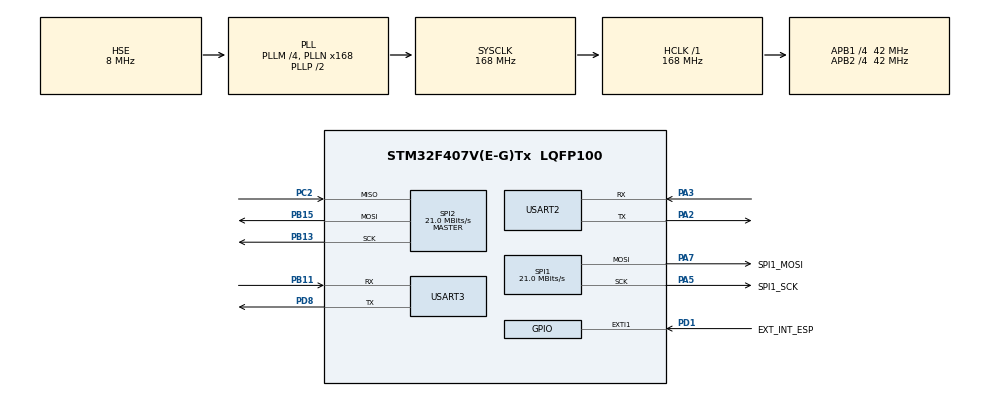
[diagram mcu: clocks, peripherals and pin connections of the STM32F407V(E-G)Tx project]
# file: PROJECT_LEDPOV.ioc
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Dma.Request0=SPI1_TX
Dma.SPI1_TX.0.Direction=DMA_MEMORY_TO_PERIPH
Dma.SPI1_TX.0.FIFOMode=DMA_FIFOMODE_DISABLE
Dma.SPI1_TX.0.Instance=DMA2_Stream3
Dma.SPI1_TX.0.MemDataAlignment=DMA_MDATAALIGN_BYTE
Dma.SPI1_TX.0.MemInc=DMA_MINC_ENABLE
Dma.SPI1_TX.0.Mode=DMA_NORMAL
Dma.SPI1_TX.0.PeriphDataAlignment=DMA_PDATAALIGN_BYTE
Dma.SPI1_TX.0.PeriphInc=DMA_PINC_DISABLE
Dma.SPI1_TX.0.Priority=DMA_PRIORITY_VERY_HIGH
Mcu.Family=STM32F4
Mcu.Name=STM32F407V(E-G)Tx
Mcu.Package=LQFP100
NVIC.DMA2_Stream3_IRQn=true\:0\:0\:false\:false\:true\:false
NVIC.PriorityGroup=NVIC_PRIORITYGROUP_0
PA13.GPIO_Label=SWDIO
PA13.Mode=Serial_Wire
PA13.Signal=SYS_JTMS-SWDIO
PA14.GPIO_Label=SWCLK
PA14.Mode=Serial_Wire
PA14.Signal=SYS_JTCK-SWCLK
PA2.Mode=Asynchronous
PA2.Signal=USART2_TX
PA3.Mode=Asynchronous
PA3.Signal=USART2_RX
PA5.GPIO_Label=SPI1_SCK
PA5.GPIO_Mode=GPIO_MODE_AF_PP
PA5.GPIO_PuPd=GPIO_NOPULL
PA5.GPIO_Speed=GPIO_SPEED_FREQ_VERY_HIGH
PA5.Mode=TX_Only_Simplex_Unidirect_Master
PA5.Signal=SPI1_SCK
PA7.GPIO_Label=SPI1_MOSI
PA7.GPIO_Mode=GPIO_MODE_AF_PP
PA7.GPIO_PuPd=GPIO_NOPULL
PA7.GPIO_Speed=GPIO_SPEED_FREQ_VERY_HIGH
PA7.Mode=TX_Only_Simplex_Unidirect_Master
PA7.Signal=SPI1_MOSI
PB11.Mode=Asynchronous
PB11.Signal=USART3_RX
PB13.Mode=Full_Duplex_Master
PB13.Signal=SPI2_SCK
PB15.Mode=Full_Duplex_Master
PB15.Signal=SPI2_MOSI
PC2.Mode=Full_Duplex_Master
PC2.Signal=SPI2_MISO
PD1.GPIO_Label=EXT_INT_ESP
PD1.Signal=GPXTI1
PD8.Mode=Asynchronous
PD8.Signal=USART3_TX
PH0-OSC_IN.GPIO_Label=PH0-OSC_IN
PH0-OSC_IN.Mode=HSE-External-Oscillator
PH0-OSC_IN.Signal=RCC_OSC_IN
PH1-OSC_OUT.GPIO_Label=PH1-OSC_OUT
PH1-OSC_OUT.Mode=HSE-External-Oscillator
PH1-OSC_OUT.Signal=RCC_OSC_OUT
ProjectManager.HeapSize=0x200
ProjectManager.StackSize=0x400
ProjectManager.TargetToolchain=SW4STM32
RCC.48MHZClocksFreq_Value=48000000
RCC.AHBFreq_Value=168000000
RCC.APB1CLKDivider=RCC_HCLK_DIV4
RCC.APB1Freq_Value=42000000
RCC.APB1TimFreq_Value=84000000
RCC.APB2CLKDivider=RCC_HCLK_DIV4
RCC.APB2Freq_Value=42000000
RCC.APB2TimFreq_Value=84000000
RCC.CortexFreq_Value=168000000
RCC.HCLKFreq_Value=168000000
RCC.HSE_VALUE=8000000
RCC.HSI_VALUE=16000000
RCC.LSE_VALUE=32768
RCC.PLLM=4
RCC.PLLN=168
RCC.PLLQ=7
RCC.PLLSourceVirtual=RCC_PLLSOURCE_HSE
RCC.SYSCLKFreq_VALUE=168000000
RCC.SYSCLKSource=RCC_SYSCLKSOURCE_PLLCLK
RCC.VCOOutputFreq_Value=336000000
SPI1.BaudRatePrescaler=SPI_BAUDRATEPRESCALER_2
SPI1.CalculateBaudRate=21.0 MBits/s
SPI1.Direction=SPI_DIRECTION_2LINES
SPI1.Mode=SPI_MODE_MASTER
SPI1.VirtualType=VM_MASTER
SPI2.CalculateBaudRate=21.0 MBits/s
SPI2.Direction=SPI_DIRECTION_2LINES
SPI2.Mode=SPI_MODE_MASTER
SPI2.VirtualType=VM_MASTER
USART2.VirtualMode=VM_ASYNC
USART3.VirtualMode=VM_ASYNC
board=STM32F4DISCOVERY

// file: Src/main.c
/**
  ******************************************************************************
  * @file           : main.c
  * @brief          : Main program body
  ******************************************************************************
  ** This notice applies to any and all portions of this file
  * that are not between comment pairs USER CODE BEGIN and
  * USER CODE END. Other portions of this file, whether
  * inserted by the user or by software development tools
  * are owned by their respective copyright owners.
  *
  * COPYRIGHT(c) 2019 STMicroelectronics
  *
  * Redistribution and use in source and binary forms, with or without modification,
  * are permitted provided that the following conditions are met:
  *   1. Redistributions of source code must retain the above copyright notice,
  *      this list of conditions and the following disclaimer.
  *   2. Redistributions in binary form must reproduce the above copyright notice,
  *      this list of conditions and the following disclaimer in the documentation
  *      and/or other materials provided with the distribution.
  *   3. Neither the name of STMicroelectronics nor the names of its contributors
  *      may be used to endorse or promote products derived from this software
  *      without specific prior written permission.
  *
  * THIS SOFTWARE IS PROVIDED BY THE COPYRIGHT HOLDERS AND CONTRIBUTORS "AS IS"
  * AND ANY EXPRESS OR IMPLIED WARRANTIES, INCLUDING, BUT NOT LIMITED TO, THE
  * IMPLIED WARRANTIES OF MERCHANTABILITY AND FITNESS FOR A PARTICULAR PURPOSE ARE
  * DISCLAIMED. IN NO EVENT SHALL THE COPYRIGHT HOLDER OR CONTRIBUTORS BE LIABLE
  * FOR ANY DIRECT, INDIRECT, INCIDENTAL, SPECIAL, EXEMPLARY, OR CONSEQUENTIAL
  * DAMAGES (INCLUDING, BUT NOT LIMITED TO, PROCUREMENT OF SUBSTITUTE GOODS OR
  * SERVICES; LOSS OF USE, DATA, OR PROFITS; OR BUSINESS INTERRUPTION) HOWEVER
  * CAUSED AND ON ANY THEORY OF LIABILITY, WHETHER IN CONTRACT, STRICT LIABILITY,
  * OR TORT (INCLUDING NEGLIGENCE OR OTHERWISE) ARISING IN ANY WAY OUT OF THE USE
  * OF THIS SOFTWARE, EVEN IF ADVISED OF THE POSSIBILITY OF SUCH DAMAGE.
  *
  ******************************************************************************
  */
#include "main.h"
#include "stm32f4xx_hal.h"

/* USER CODE BEGIN Includes */
#include "Flash_Functions.h"
#include "LED_Functions.h"

#include <errno.h>
#include <sys/stat.h>
#include <sys/times.h>
#include <sys/unistd.h>
/* USER CODE END Includes */

SPI_HandleTypeDef hspi1;
SPI_HandleTypeDef hspi2;
DMA_HandleTypeDef hdma_spi1_tx;

UART_HandleTypeDef huart2;
UART_HandleTypeDef huart3;

/* USER CODE BEGIN PV */
/* Private variables ---------------------------------------------------------*/
//#define UnlockLEDS
//#define UnlockFLASH
/* USER CODE END PV */

void SystemClock_Config(void);
static void MX_GPIO_Init(void);
static void MX_DMA_Init(void);
static void MX_SPI1_Init(void);
static void MX_USART2_UART_Init(void);
static void MX_SPI2_Init(void);
static void MX_USART3_UART_Init(void);

/* USER CODE BEGIN PFP */
int _write(int file, char *ptr, int len) {
    HAL_StatusTypeDef xStatus;
    switch (file) {
    case STDOUT_FILENO: /*stdout*/
		xStatus = HAL_UART_Transmit(&huart2, (uint8_t*)ptr, len, HAL_MAX_DELAY);
		if (xStatus != HAL_OK) {
			errno = EIO;
			return -1;
		}
        break;
    case STDERR_FILENO: /* stderr */
		xStatus = HAL_UART_Transmit(&huart2, (uint8_t*)ptr, len, HAL_MAX_DELAY);
		if (xStatus != HAL_OK) {
			errno = EIO;
			return -1;
		}
        break;
    default:
        errno = EBADF;
        return -1;
    }
    return len;
}

/* Private function prototypes -----------------------------------------------*/
//#define AANTAL_LEDS  60

/* USER CODE END PFP */

int main(void)
{

  /* MCU Configuration----------------------------------------------------------*/

  /* Reset of all peripherals, Initializes the Flash interface and the Systick. */
  HAL_Init();

  /* Configure the system clock */
  SystemClock_Config();

  /* Initialize all configured peripherals */
  MX_GPIO_Init();
  MX_DMA_Init();
  MX_SPI1_Init();
  MX_USART2_UART_Init();
  MX_SPI2_Init();
  MX_USART3_UART_Init();
  /* USER CODE BEGIN 2 */

////////////////////////////////////////////////////////////
#ifdef UnlockLEDS
  uint8_t Red = 255;
  uint8_t Green = 255;
  uint8_t Blue = 255;
  uint8_t Intensity = 0b00011111;			//value between 0b0000 0000 and 0b0001 1111
  	  	  	  	  	  	  	  	  	  	  	//everything above 1 1111 will be ignored
  uint8_t AmountOfLeds = 20;
  uint32_t AmountOfBytes = ( AmountOfLeds + 1 ) * 4;
  uint8_t LEDArray[ AmountOfBytes ];

  FillLEDarray( LEDArray, AmountOfBytes, Intensity, Red, Green, Blue );
#endif
////////////////////////////////////////////////////////////
#ifdef UnlockLEDS
  RGB444toARGB32( array444, array32);
#endif
////////////////////////////////////////////////////////////
#ifdef UnlockFLASH
  uint32_t MyTest = 0x1;
  Flash_write(0x08020000, MyTest);

  uint32_t returnedvalue = Flash_read(0x08020000);
  printf("returned value in main = %lu\r\n", returnedvalue);
  HAL_Delay(1000);
#endif
////////////////////////////////////////////////////////////

  /* USER CODE END 2 */

  /* Infinite loop */
  while (1)
  {

  /* USER CODE BEGIN 3 */
#ifdef UnlockLEDS
  HAL_SPI_Transmit_DMA(&hspi1, LEDArray, AmountOfBytes);
#endif
  }
  /* USER CODE END 3 */

}

void SystemClock_Config(void)
{

  RCC_OscInitTypeDef RCC_OscInitStruct;
  RCC_ClkInitTypeDef RCC_ClkInitStruct;

    /**Configure the main internal regulator output voltage
    */
  __HAL_RCC_PWR_CLK_ENABLE();

  __HAL_PWR_VOLTAGESCALING_CONFIG(PWR_REGULATOR_VOLTAGE_SCALE1);

    /**Initializes the CPU, AHB and APB busses clocks
    */
  RCC_OscInitStruct.OscillatorType = RCC_OSCILLATORTYPE_HSE;
  RCC_OscInitStruct.HSEState = RCC_HSE_ON;
  RCC_OscInitStruct.PLL.PLLState = RCC_PLL_ON;
  RCC_OscInitStruct.PLL.PLLSource = RCC_PLLSOURCE_HSE;
  RCC_OscInitStruct.PLL.PLLM = 4;
  RCC_OscInitStruct.PLL.PLLN = 168;
  RCC_OscInitStruct.PLL.PLLP = RCC_PLLP_DIV2;
  RCC_OscInitStruct.PLL.PLLQ = 7;
  if (HAL_RCC_OscConfig(&RCC_OscInitStruct) != HAL_OK)
  {
    _Error_Handler(__FILE__, __LINE__);
  }

    /**Initializes the CPU, AHB and APB busses clocks
    */
  RCC_ClkInitStruct.ClockType = RCC_CLOCKTYPE_HCLK|RCC_CLOCKTYPE_SYSCLK
                              |RCC_CLOCKTYPE_PCLK1|RCC_CLOCKTYPE_PCLK2;
  RCC_ClkInitStruct.SYSCLKSource = RCC_SYSCLKSOURCE_PLLCLK;
  RCC_ClkInitStruct.AHBCLKDivider = RCC_SYSCLK_DIV1;
  RCC_ClkInitStruct.APB1CLKDivider = RCC_HCLK_DIV4;
  RCC_ClkInitStruct.APB2CLKDivider = RCC_HCLK_DIV4;

  if (HAL_RCC_ClockConfig(&RCC_ClkInitStruct, FLASH_LATENCY_5) != HAL_OK)
  {
    _Error_Handler(__FILE__, __LINE__);
  }

    /**Configure the Systick interrupt time
    */
  HAL_SYSTICK_Config(HAL_RCC_GetHCLKFreq()/1000);

    /**Configure the Systick
    */
  HAL_SYSTICK_CLKSourceConfig(SYSTICK_CLKSOURCE_HCLK);

  /* SysTick_IRQn interrupt configuration */
  HAL_NVIC_SetPriority(SysTick_IRQn, 0, 0);
}

/* SPI1 init function */
static void MX_SPI1_Init(void)
{

  /* SPI1 parameter configuration*/
  hspi1.Instance = SPI1;
  hspi1.Init.Mode = SPI_MODE_MASTER;
  hspi1.Init.Direction = SPI_DIRECTION_2LINES;
  hspi1.Init.DataSize = SPI_DATASIZE_8BIT;
  hspi1.Init.CLKPolarity = SPI_POLARITY_LOW;
  hspi1.Init.CLKPhase = SPI_PHASE_1EDGE;
  hspi1.Init.NSS = SPI_NSS_SOFT;
  hspi1.Init.BaudRatePrescaler = SPI_BAUDRATEPRESCALER_2;
  hspi1.Init.FirstBit = SPI_FIRSTBIT_MSB;
  hspi1.Init.TIMode = SPI_TIMODE_DISABLE;
  hspi1.Init.CRCCalculation = SPI_CRCCALCULATION_DISABLE;
  hspi1.Init.CRCPolynomial = 10;
  if (HAL_SPI_Init(&hspi1) != HAL_OK)
  {
    _Error_Handler(__FILE__, __LINE__);
  }

}

/* SPI2 init function */
static void MX_SPI2_Init(void)
{

  /* SPI2 parameter configuration*/
  hspi2.Instance = SPI2;
  hspi2.Init.Mode = SPI_MODE_MASTER;
  hspi2.Init.Direction = SPI_DIRECTION_2LINES;
  hspi2.Init.DataSize = SPI_DATASIZE_8BIT;
  hspi2.Init.CLKPolarity = SPI_POLARITY_LOW;
  hspi2.Init.CLKPhase = SPI_PHASE_1EDGE;
  hspi2.Init.NSS = SPI_NSS_SOFT;
  hspi2.Init.BaudRatePrescaler = SPI_BAUDRATEPRESCALER_2;
  hspi2.Init.FirstBit = SPI_FIRSTBIT_MSB;
  hspi2.Init.TIMode = SPI_TIMODE_DISABLE;
  hspi2.Init.CRCCalculation = SPI_CRCCALCULATION_DISABLE;
  hspi2.Init.CRCPolynomial = 10;
  if (HAL_SPI_Init(&hspi2) != HAL_OK)
  {
    _Error_Handler(__FILE__, __LINE__);
  }

}

/* USART2 init function */
static void MX_USART2_UART_Init(void)
{

  huart2.Instance = USART2;
  huart2.Init.BaudRate = 115200;
  huart2.Init.WordLength = UART_WORDLENGTH_8B;
  huart2.Init.StopBits = UART_STOPBITS_1;
  huart2.Init.Parity = UART_PARITY_NONE;
  huart2.Init.Mode = UART_MODE_TX_RX;
  huart2.Init.HwFlowCtl = UART_HWCONTROL_NONE;
  huart2.Init.OverSampling = UART_OVERSAMPLING_16;
  if (HAL_UART_Init(&huart2) != HAL_OK)
  {
    _Error_Handler(__FILE__, __LINE__);
  }

}

/* USART3 init function */
static void MX_USART3_UART_Init(void)
{

  huart3.Instance = USART3;
  huart3.Init.BaudRate = 115200;
  huart3.Init.WordLength = UART_WORDLENGTH_8B;
  huart3.Init.StopBits = UART_STOPBITS_1;
  huart3.Init.Parity = UART_PARITY_NONE;
  huart3.Init.Mode = UART_MODE_TX_RX;
  huart3.Init.HwFlowCtl = UART_HWCONTROL_NONE;
  huart3.Init.OverSampling = UART_OVERSAMPLING_16;
  if (HAL_UART_Init(&huart3) != HAL_OK)
  {
    _Error_Handler(__FILE__, __LINE__);
  }

}

static void MX_DMA_Init(void)
{
  /* DMA controller clock enable */
  __HAL_RCC_DMA2_CLK_ENABLE();

  /* DMA interrupt init */
  /* DMA2_Stream3_IRQn interrupt configuration */
  HAL_NVIC_SetPriority(DMA2_Stream3_IRQn, 0, 0);
  HAL_NVIC_EnableIRQ(DMA2_Stream3_IRQn);

}

/** Configure pins as
        * Analog
        * Input
        * Output
        * EVENT_OUT
        * EXTI
*/
static void MX_GPIO_Init(void)
{

  GPIO_InitTypeDef GPIO_InitStruct;

  /* GPIO Ports Clock Enable */
  __HAL_RCC_GPIOH_CLK_ENABLE();
  __HAL_RCC_GPIOC_CLK_ENABLE();
  __HAL_RCC_GPIOA_CLK_ENABLE();
  __HAL_RCC_GPIOB_CLK_ENABLE();
  __HAL_RCC_GPIOD_CLK_ENABLE();

  /*Configure GPIO pin : EXT_INT_ESP_Pin */
  GPIO_InitStruct.Pin = EXT_INT_ESP_Pin;
  GPIO_InitStruct.Mode = GPIO_MODE_IT_RISING;
  GPIO_InitStruct.Pull = GPIO_NOPULL;
  HAL_GPIO_Init(EXT_INT_ESP_GPIO_Port, &GPIO_InitStruct);

}

void _Error_Handler(char *file, int line)
{
  while(1)
  {
  }
}

/************************ (C) COPYRIGHT STMicroelectronics *****END OF FILE****/
